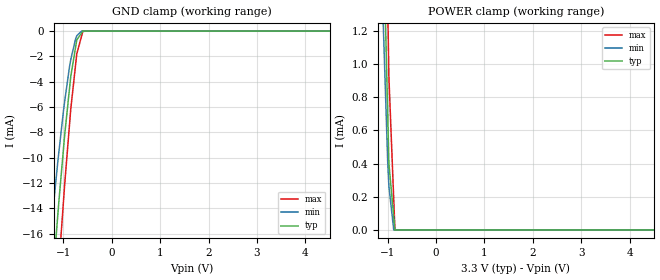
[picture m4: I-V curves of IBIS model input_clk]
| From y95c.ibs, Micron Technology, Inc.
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|   MODEL INPUT CLK
[Model]   input_clk
| Model used only for clk input
Model_type   Input
Vinl = 800.000mV
Vinh = 2.000V
|   typ   min   max
C_comp   1.950pF   1.450pF   2.450pF
[Voltage Range]   3.300V   3.000V   3.600V
[Temperature Range]   25.0   85.0   0.0
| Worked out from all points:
|   GND clamp passes 1 mA (typ) near -0.74 V on its own axis
|   POWER clamp passes 1 mA (typ) near -1.02 V on its own axis
[GND Clamp]
|   Voltage   I(typ)   I(min)   I(max)
-3.3V     -384.1mA   -367mA     -403.1mA
-1.35V    -26.23mA   -21.39mA   -33.43mA
-1.225V   -19.73mA   -14.43mA   -25.95mA
-1.1V     -13.66mA   -9.688mA   -18.76mA
-975mV    -8.179mA   -5.523mA   -12.08mA
-850mV    -3.589mA   -2.252mA   -6.16mA
-725mV    -693.9uA   -368.3uA   -1.79mA
-600mV    0A         NA         -23.21uA
6.6V      0A         0A         0A
[POWER Clamp]
|   Voltage   I(typ)   I(min)   I(max)
-3.3V     68.06mA    56.23mA    78.01mA
-1.1V     1.912mA    1.318mA    3.113mA
-975mV    400.2uA    262.6uA    922.7uA
-850mV    0A         NA         0A
6.6V      0A         0A         0A
